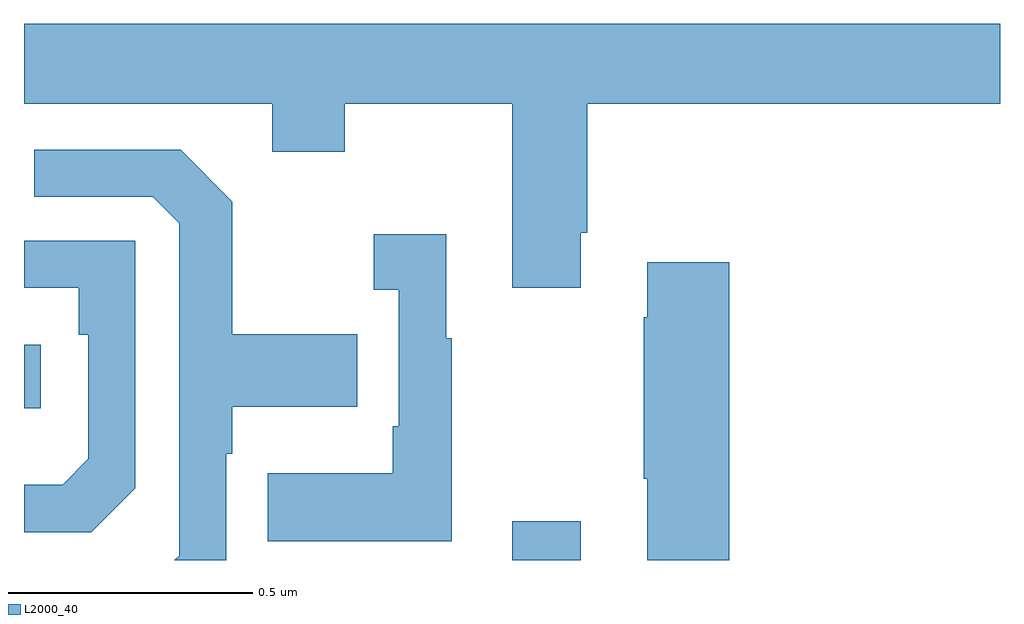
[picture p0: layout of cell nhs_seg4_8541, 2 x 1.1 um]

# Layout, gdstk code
import gdstk
lib = gdstk.Library(unit=1e-6, precision=1e-09)
def R(c, l, rs):  # rectangles x0, y0, x1, y1
    for r in rs: c.add(gdstk.rectangle(r[:2], r[2:], *l))
def P(c, l, *ps):  # polygons
    for p in ps: c.add(gdstk.Polygon(p, *l))
L2000_40 = (2000, 40)

nhs_seg4_8541 = lib.new_cell('nhs_seg4_8541')
R(nhs_seg4_8541, L2000_40, [(217.001,779.9,217.141,779.98), (216,780.212,216.034,780.342)])
P(nhs_seg4_8541, L2000_40, [(217.141,780.571),(217.154,780.571),(217.154,780.836),(218,780.836),(218,781),(216,781),(216,780.836),(216.509,780.836),(216.509,780.737),(216.657,780.737),(216.657,780.836),(217.001,780.836),(217.001,780.459),(217.141,780.459)],
  [(216.414,780.119),(216.427,780.119),(216.427,780.215),(216.683,780.215),(216.683,780.363),(216.427,780.363),(216.427,780.635),(216.321,780.741),(216.021,780.741),(216.021,780.645),(216.264,780.645),(216.318,780.591),(216.318,779.91),(216.308,779.9),(216.414,779.9)],
  [(216.877,780.355),(216.865,780.355),(216.865,780.568),(216.717,780.568),(216.717,780.455),(216.768,780.455),(216.768,780.175),(216.756,780.175),(216.756,780.079),(216.499,780.079),(216.499,779.939),(216.877,779.939)],
  [(216.228,780.048),(216.228,780.555),(216,780.555),(216,780.459),(216.112,780.459),(216.112,780.362),(216.132,780.362),(216.132,780.108),(216.079,780.055),(216,780.055),(216,779.958),(216.138,779.958)],
  [(217.445,780.511),(217.277,780.511),(217.277,780.398),(217.27,780.398),(217.27,780.067),(217.277,780.067),(217.277,779.9),(217.445,779.9)])

lib.write_gds('nhs_seg4_8541.gds')
